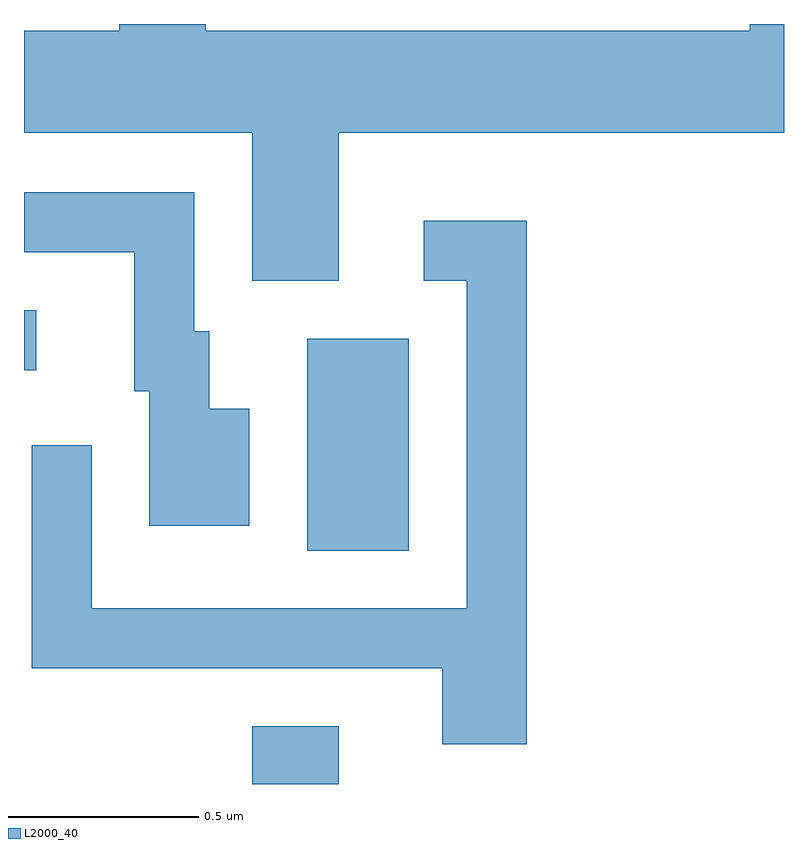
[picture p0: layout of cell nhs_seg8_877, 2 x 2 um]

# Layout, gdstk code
import gdstk
lib = gdstk.Library(unit=1e-6, precision=1e-09)
def R(c, l, rs):  # rectangles x0, y0, x1, y1
    for r in rs: c.add(gdstk.rectangle(r[:2], r[2:], *l))
def P(c, l, *ps):  # polygons
    for p in ps: c.add(gdstk.Polygon(p, *l))
L2000_40 = (2000, 40)

nhs_seg8_877 = lib.new_cell('nhs_seg8_877')
R(nhs_seg8_877, L2000_40, [(192.211,1861.342,192.439,1861.494), (192.356,1861.956,192.624,1862.514), (191.611,1862.431,191.643,1862.589)])
P(nhs_seg8_877, L2000_40, [(192.439,1863.056),(193.611,1863.056),(193.611,1863.342),(193.521,1863.342),(193.521,1863.324),(192.089,1863.324),(192.089,1863.342),(191.861,1863.342),(191.861,1863.324),(191.611,1863.324),(191.611,1863.056),(192.211,1863.056),(192.211,1862.666),(192.439,1862.666)],
  [(192.204,1862.329),(192.099,1862.329),(192.099,1862.534),(192.059,1862.534),(192.059,1862.899),(191.611,1862.899),(191.611,1862.741),(191.901,1862.741),(191.901,1862.376),(191.941,1862.376),(191.941,1862.021),(192.204,1862.021)],
  [(192.934,1862.824),(192.663,1862.824),(192.663,1862.666),(192.776,1862.666),(192.776,1861.804),(191.789,1861.804),(191.789,1862.233),(191.631,1862.233),(191.631,1861.646),(192.711,1861.646),(192.711,1861.446),(192.934,1861.446)])

lib.write_gds('nhs_seg8_877.gds')
